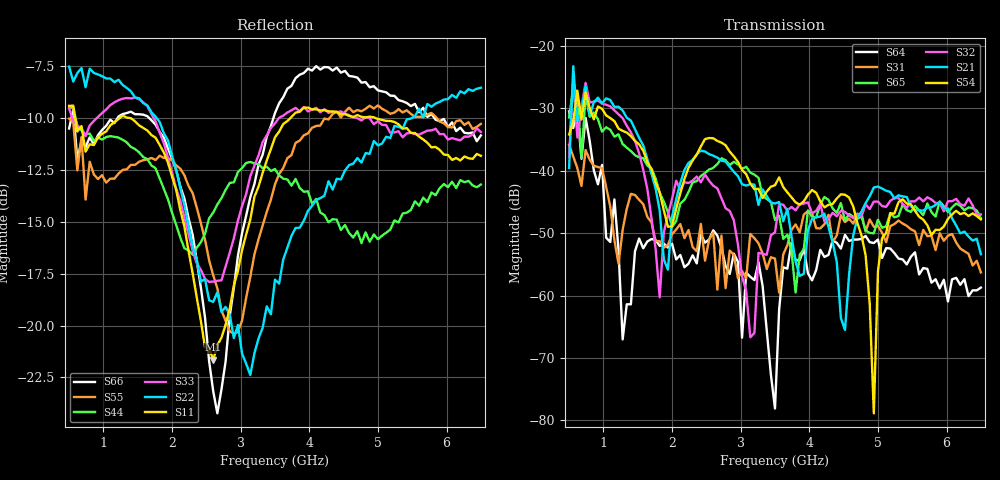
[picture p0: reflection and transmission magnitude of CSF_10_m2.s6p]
!Keysight Technologies,M9804A,MY58100912,A.14.10.03
!Date: Thursday, April 27, 2023 10:28:33
!Correction: S11(C  6-Port  )
!S12(C  6-Port  )
!S13(C  6-Port  )
!S14(C  6-Port  )
!S15(C  6-Port  )
!S16(C  6-Port  )
!S21(C  6-Port  )
!S22(C  6-Port  )
!S23(C  6-Port  )
!S24(C  6-Port  )
!S25(C  6-Port  )
!S26(C  6-Port  )
!S31(C  6-Port  )
!S32(C  6-Port  )
!S33(C  6-Port  )
!S34(C  6-Port  )
!S35(C  6-Port  )
!S36(C  6-Port  )
!S41(C  6-Port  )
!S42(C  6-Port  )
!S43(C  6-Port  )
!S44(C  6-Port  )
!S45(C  6-Port  )
!S46(C  6-Port  )
!S51(C  6-Port  )
!S52(C  6-Port  )
!S53(C  6-Port  )
!S54(C  6-Port  )
!S55(C  6-Port  )
!S56(C  6-Port  )
!S61(C  6-Port  )
!S62(C  6-Port  )
!S63(C  6-Port  )
!S64(C  6-Port  )
!S65(C  6-Port  )
!S66(C  6-Port  )
!S6P File: Measurement: :
# Hz S  RI  R 50
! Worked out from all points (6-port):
!   101 points, 500 MHz to 6.5 GHz, reference 50 ohm
!   strongest paths, dB at 500 MHz, 2 GHz, 3.5 GHz, 5 GHz, 6.5 GHz:
!     S54: -34.2, -48.9, -42.3, -56.1, -47.8
!     S21: -39.6, -47.4, -45.3, -42.5, -53.4
!     S32: -37.7, -44.5, -49.9, -44.9, -47.0
!     S65: -31.5, -49.0, -47.9, -47.8, -47.6
!     S31: -35.8, -50.2, -54.1, -48.8, -56.3
!     S64: -30.5, -51.7, -78.1, -51.0, -58.7
!   lowest |S11| = -21.6 dB at 2.6 GHz (marker M1), VSWR 1.18, Z = 42.6 + j2.06 ohm
!   |S11| at or under -10 dB: 589.1 MHz to 1.234 GHz (644.8 MHz wide, 70.7 % of centre); 1.402 GHz to 3.721 GHz (2.319 GHz wide, 90.5 % of centre); 4.972 GHz to end of sweep
